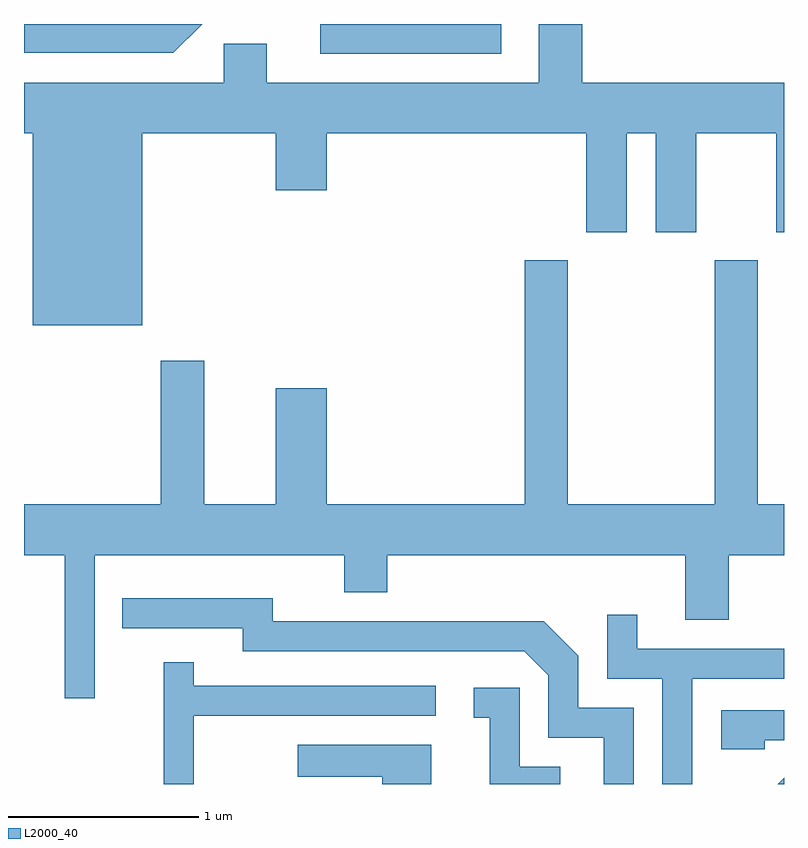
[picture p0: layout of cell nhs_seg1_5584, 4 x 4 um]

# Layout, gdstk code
import gdstk
lib = gdstk.Library(unit=1e-6, precision=1e-09)
def R(c, l, rs):  # rectangles x0, y0, x1, y1
    for r in rs: c.add(gdstk.rectangle(r[:2], r[2:], *l))
def P(c, l, *ps):  # polygons
    for p in ps: c.add(gdstk.Polygon(p, *l))
L2000_40 = (2000, 40)

nhs_seg1_5584 = lib.new_cell('nhs_seg1_5584')
R(nhs_seg1_5584, L2000_40, [(355.171,895.556,356.124,895.712)])
P(nhs_seg1_5584, L2000_40, [(354.548,895.712),(353.611,895.712),(353.611,895.561),(354.397,895.561)],
  [(354.234,895.136),(354.936,895.136),(354.936,894.836),(355.204,894.836),(355.204,895.136),(356.571,895.136),(356.571,894.616),(356.784,894.616),(356.784,895.136),(356.936,895.136),(356.936,894.616),(357.149,894.616),(357.149,895.136),(357.571,895.136),(357.571,894.616),(357.611,894.616),(357.611,895.404),(356.549,895.404),(356.549,895.712),(356.321,895.712),(356.321,895.404),(354.889,895.404),(354.889,895.609),(354.661,895.609),(354.661,895.404),(353.611,895.404),(353.611,895.136),(353.656,895.136),(353.656,894.126),(354.234,894.126)],
  [(353.984,892.916),(355.296,892.916),(355.296,892.721),(355.524,892.721),(355.524,892.916),(357.091,892.916),(357.091,892.576),(357.319,892.576),(357.319,892.916),(357.611,892.916),(357.611,893.184),(357.474,893.184),(357.474,894.469),(357.246,894.469),(357.246,893.184),(356.474,893.184),(356.474,894.469),(356.246,894.469),(356.246,893.184),(355.204,893.184),(355.204,893.794),(354.936,893.794),(354.936,893.184),(354.559,893.184),(354.559,893.939),(354.331,893.939),(354.331,893.184),(353.611,893.184),(353.611,892.916),(353.826,892.916),(353.826,892.163),(353.984,892.163)],
  [(356.819,892.114),(356.529,892.114),(356.529,892.387),(356.347,892.569),(354.919,892.569),(354.919,892.689),(354.128,892.689),(354.128,892.531),(354.761,892.531),(354.761,892.411),(356.244,892.411),(356.371,892.284),(356.371,891.956),(356.661,891.956),(356.661,891.712),(356.819,891.712)],
  [(357.129,892.266),(357.611,892.266),(357.611,892.424),(356.839,892.424),(356.839,892.603),(356.681,892.603),(356.681,892.266),(356.971,892.266),(356.971,891.712),(357.129,891.712)],
  [(354.504,892.071),(355.778,892.071),(355.778,892.229),(354.504,892.229),(354.504,892.353),(354.346,892.353),(354.346,891.712),(354.504,891.712)],
  [(356.434,891.804),(356.219,891.804),(356.219,892.219),(355.978,892.219),(355.978,892.061),(356.061,892.061),(356.061,891.712),(356.434,891.712)],
  [(357.509,891.941),(357.611,891.941),(357.611,892.099),(357.281,892.099),(357.281,891.896),(357.509,891.896)],
  [(355.754,891.919),(355.053,891.919),(355.053,891.751),(355.496,891.751),(355.496,891.712),(355.754,891.712)],
  [(357.611,891.746),(357.577,891.712),(357.611,891.712)])

lib.write_gds('nhs_seg1_5584.gds')
